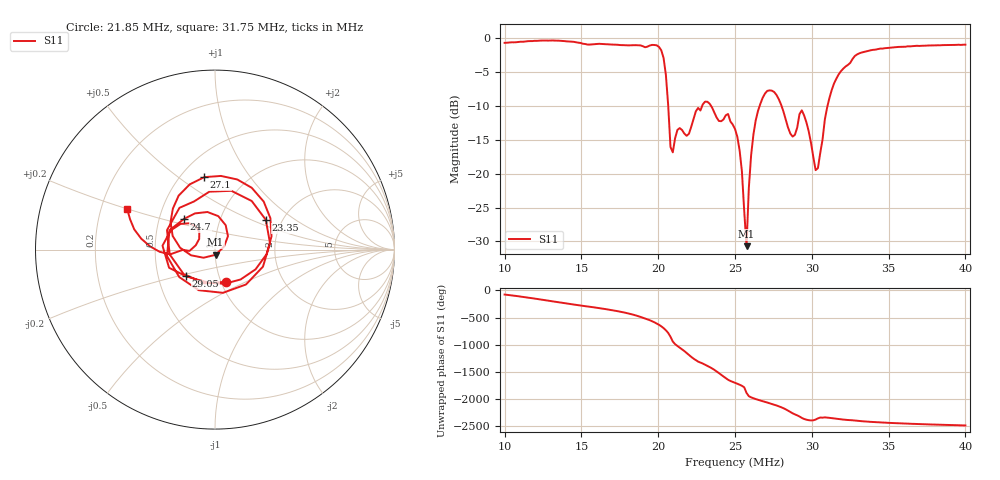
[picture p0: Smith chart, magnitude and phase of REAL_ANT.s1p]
!Keysight Technologies N9916A: A.13.10
!Date: Tuesday, 11 November 2025 18:37:39
!TimeZone: (UTC-06:00) Central Time (US & Canada)!Model: N9916A
!Serial: MY57273160
!GPS Latitude:
!GPS Longitude:
!GPS TimeStamp: 0001-01-01 00:00:00Z
!GPS Seconds Since Last Read: 0
!CHECKSUM:0672970959
!Correction: S11(ON U)
!S1P File: Measurement: S11:
# Hz S DB R 50
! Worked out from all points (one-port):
!   201 points, 10 MHz to 40 MHz, reference 50 ohm
!   lowest |S11| = -30.7 dB at 25.75 MHz (marker M1), VSWR 1.06, Z = 50.2 - j2.91 ohm
!   |S11| at or under -10 dB: 20.65 MHz to 22.86 MHz (2.211 MHz wide, 10.2 % of centre); 23.44 MHz to 26.61 MHz (3.165 MHz wide, 12.6 % of centre); 28.03 MHz to 31.02 MHz (2.994 MHz wide, 10.1 % of centre)
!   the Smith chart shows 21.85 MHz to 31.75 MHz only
!   S11 on the Smith chart (normalised r, x): 21.85 MHz: 1.06, -0.39; 23.35 MHz: 1.65, +0.61; 24.7 MHz: 0.67, +0.24; 27.1 MHz: 0.65, +0.63; 29.05 MHz: 0.70, -0.22; 31.75 MHz: 0.31, +0.20
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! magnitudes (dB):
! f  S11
! 10 MHz  -0.7
! 13.75 MHz  -0.4
! 17.5 MHz  -1.0
! 20.05 MHz  -1.3
! 20.5 MHz  -5.4
! 20.8 MHz  -16.1
! 20.95 MHz  -16.9
! 21.25 MHz  -13.6
! 21.85 MHz  -14.4
! 22.6 MHz  -10.3
! 23.35 MHz  -9.7
! 24.7 MHz  -12.3
! 25 MHz  -13.4
! 25.45 MHz  -19.7
! 25.75 MHz  -30.7
! 25.9 MHz  -22.1
! 26.2 MHz  -14.2
! 27.1 MHz  -7.8
! 27.7 MHz  -8.4
! 28.75 MHz  -14.5
! 29.05 MHz  -13.2
! 29.35 MHz  -10.7
! 30.4 MHz  -19.2
! 31 MHz  -10.2
! 31.75 MHz  -5.3
! 32.5 MHz  -3.7
! 36.25 MHz  -1.2
! 40 MHz  -1.0
